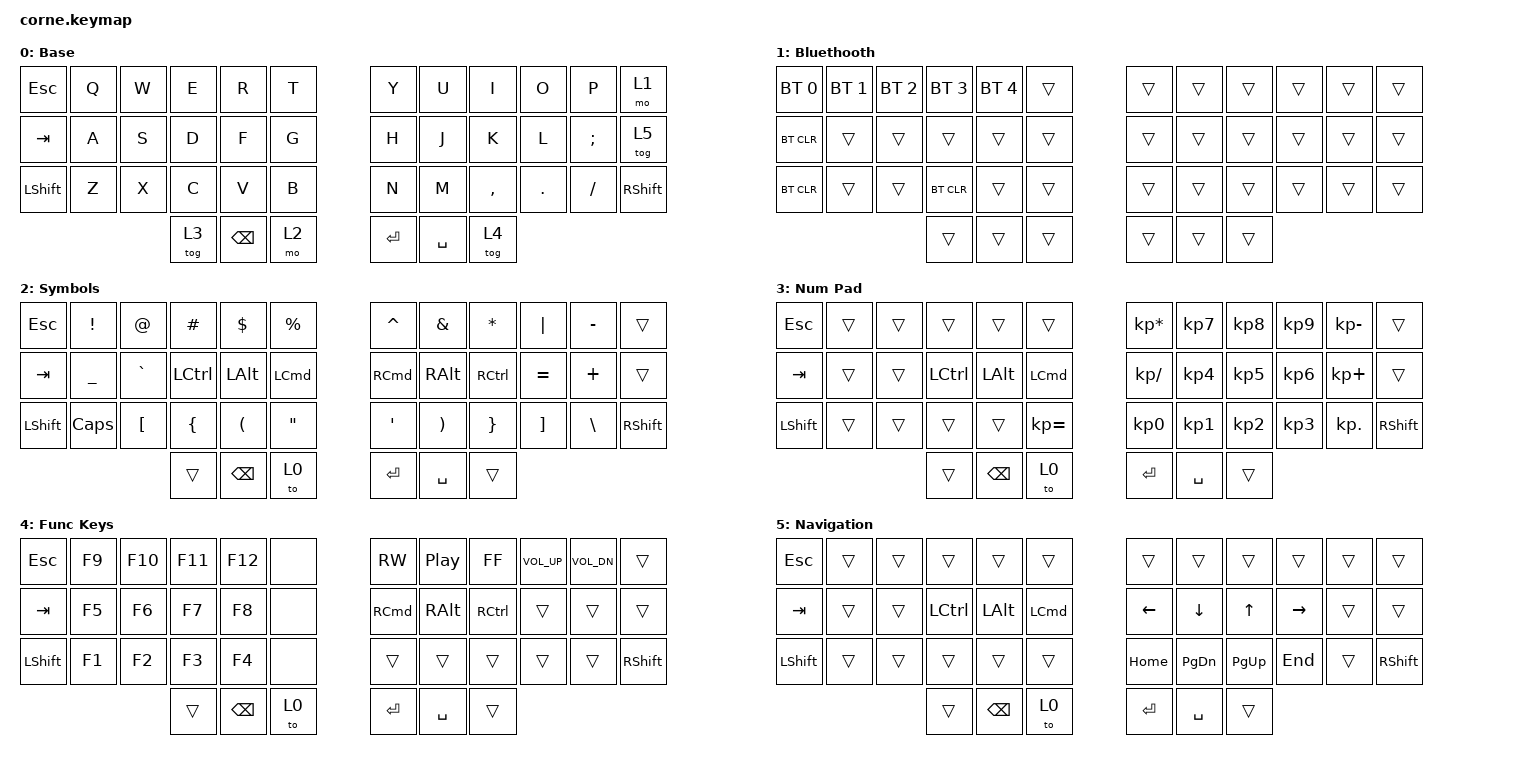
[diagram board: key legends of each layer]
/*
 * Copyright (c) 2020 The ZMK Contributors
 *
 * SPDX-License-Identifier: MIT
 */

#include <behaviors.dtsi>
#include <dt-bindings/zmk/keys.h>
#include <dt-bindings/zmk/bt.h>

/ {
        keymap {
                compatible = "zmk,keymap";

                default_layer {

                        label = "Base";
                        bindings = <
   &kp ESC   &kp Q &kp W &kp E &kp R &kp T   &kp Y &kp U  &kp I     &kp O   &kp P    &mo 1
   &kp TAB &kp A &kp S &kp D &kp F &kp G   &kp H &kp J  &kp K     &kp L   &kp SEMI &tog 5
   &kp LSHFT &kp Z &kp X &kp C &kp V &kp B   &kp N &kp M  &kp COMMA &kp DOT &kp FSLH &kp RSHFT
                  &tog 3 &kp BSPC  &mo 2   &kp RET &kp SPACE &tog 4
                        >;
                };
                bluetooth_layer {
                        label = "Bluethooth";
                        bindings = <
   &bt BT_SEL 0 &bt BT_SEL 1 &bt BT_SEL 2 &bt BT_SEL 3 &bt BT_SEL 4 &trans        &trans &trans &trans &trans &trans &trans
   &bt BT_CLR   &trans       &trans       &trans       &trans       &trans        &trans &trans &trans &trans &trans &trans
   &bt BT_CLR   &trans       &trans       &bt BT_CLR   &trans       &trans        &trans &trans &trans &trans &trans &trans
                          	      &trans &trans &trans              &trans &trans &trans
                        >;
                };

                symbol_layer {
                        label = "Symbols";
                        bindings = <
   &kp ESC    &kp EXCL        &kp AT            &kp HASH         &kp DLLR              &kp PRCNT             &kp CARET          &kp AMPS              &kp STAR           &kp PIPE          &kp MINUS      &trans
   &kp TAB    &kp UNDERSCORE  &kp GRAVE         &kp LEFT_CONTROL &kp LEFT_ALT          &kp LEFT_COMMAND      &kp RIGHT_COMMAND  &kp RIGHT_ALT         &kp RIGHT_CONTROL  &kp EQUAL         &kp PLUS       &trans
   &kp LSHFT  &kp CAPSLOCK    &kp LEFT_BRACKET  &kp LEFT_BRACE   &kp LEFT_PARENTHESIS  &kp DOUBLE_QUOTES     &kp SINGLE_QUOTE   &kp RIGHT_PARENTHESIS &kp RIGHT_BRACE    &kp RIGHT_BRACKET &kp BACKSLASH  &kp RIGHT_SHIFT
                    	       &trans &kp BSPC  &to 0   &kp RET  &kp SPACE &trans
                        >;
                };

numeric_layer {
  label = "Num Pad";
bindings = <
        &kp ESC  &trans  &trans            &trans        &trans            &trans                  &kp KP_MULTIPLY  &kp KP_NUMBER_7  &kp KP_NUMBER_8  &kp KP_NUMBER_9  &kp KP_MINUS  &trans
        &kp TAB  &trans  &trans  &kp LEFT_CONTROL  &kp LEFT_ALT  &kp LEFT_COMMAND                  &kp KP_DIVIDE    &kp KP_NUMBER_4  &kp KP_NUMBER_5  &kp KP_NUMBER_6  &kp KP_PLUS   &trans
        &kp LEFT_SHIFT  &trans  &trans            &trans        &trans      &kp KP_EQUAL           &kp KP_NUMBER_0  &kp KP_NUMBER_1  &kp KP_NUMBER_2  &kp KP_NUMBER_3  &kp KP_DOT    &kp RIGHT_SHIFT
                              &trans &kp BSPC  &to 0   &kp RET &kp SPACE &trans                        
            >;
        };

        functional_layer {
label = "Func Keys";   
bindings = <
     &kp ESCAPE  &kp F9  &kp F10  &kp F11  &kp F12  &none        &kp C_RW            &kp C_PP       &kp C_FF           &kp C_VOL_UP  &kp C_VOL_DN     &trans
     &kp TAB     &kp F5  &kp F6   &kp F7   &kp F8   &none        &kp RIGHT_COMMAND   &kp RIGHT_ALT  &kp RIGHT_CONTROL  &trans        &trans          &trans
 &kp LEFT_SHIFT  &kp F1  &kp F2   &kp F3   &kp F4   &none              &trans         &trans  &trans     &trans        &trans          &kp RIGHT_SHIFT
                           &trans &kp BSPC  &to 0   &kp RET &kp SPACE &trans                      
            >;
        };

        nav_layer {
label = "Navigation";
bindings = <
     
        &kp ESC  &trans  &trans            &trans        &trans            &trans               &trans      &trans         &trans       &trans     &trans           &trans
        &kp TAB  &trans  &trans  &kp LEFT_CONTROL  &kp LEFT_ALT  &kp LEFT_COMMAND               &kp LEFT    &kp DOWN       &kp UP       &kp RIGHT  &trans           &trans
 &kp LEFT_SHIFT  &trans  &trans            &trans        &trans            &trans               &kp HOME    &kp PAGE_DOWN  &kp PG_UP    &kp END    &trans  &kp RIGHT_SHIFT
                              &trans &kp BSPC  &to 0   &kp RET &kp SPACE &trans            
            >;
        };
        };
};
